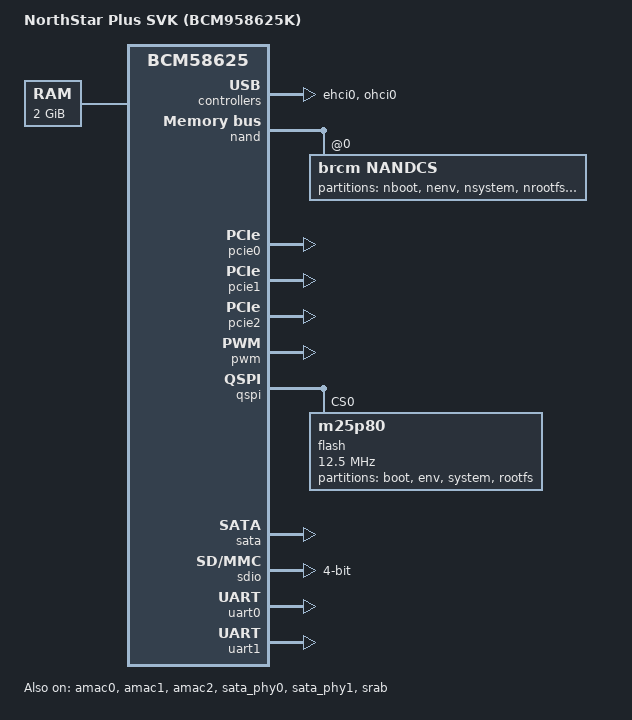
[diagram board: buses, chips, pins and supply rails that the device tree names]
/*
 *  BSD LICENSE
 *
 *  Copyright(c) 2015 Broadcom Corporation.  All rights reserved.
 *
 *  Redistribution and use in source and binary forms, with or without
 *  modification, are permitted provided that the following conditions
 *  are met:
 *
 *    * Redistributions of source code must retain the above copyright
 *      notice, this list of conditions and the following disclaimer.
 *    * Redistributions in binary form must reproduce the above copyright
 *      notice, this list of conditions and the following disclaimer in
 *      the documentation and/or other materials provided with the
 *      distribution.
 *    * Neither the name of Broadcom Corporation nor the names of its
 *      contributors may be used to endorse or promote products derived
 *      from this software without specific prior written permission.
 *
 *  THIS SOFTWARE IS PROVIDED BY THE COPYRIGHT HOLDERS AND CONTRIBUTORS
 *  "AS IS" AND ANY EXPRESS OR IMPLIED WARRANTIES, INCLUDING, BUT NOT
 *  LIMITED TO, THE IMPLIED WARRANTIES OF MERCHANTABILITY AND FITNESS FOR
 *  A PARTICULAR PURPOSE ARE DISCLAIMED. IN NO EVENT SHALL THE COPYRIGHT
 *  OWNER OR CONTRIBUTORS BE LIABLE FOR ANY DIRECT, INDIRECT, INCIDENTAL,
 *  SPECIAL, EXEMPLARY, OR CONSEQUENTIAL DAMAGES (INCLUDING, BUT NOT
 *  LIMITED TO, PROCUREMENT OF SUBSTITUTE GOODS OR SERVICES; LOSS OF USE,
 *  DATA, OR PROFITS; OR BUSINESS INTERRUPTION) HOWEVER CAUSED AND ON ANY
 *  THEORY OF LIABILITY, WHETHER IN CONTRACT, STRICT LIABILITY, OR TORT
 *  (INCLUDING NEGLIGENCE OR OTHERWISE) ARISING IN ANY WAY OUT OF THE USE
 *  OF THIS SOFTWARE, EVEN IF ADVISED OF THE POSSIBILITY OF SUCH DAMAGE.
 */

/dts-v1/;

#include "bcm-nsp.dtsi"

/ {
	model = "NorthStar Plus SVK (BCM958625K)";
	compatible = "brcm,bcm58625", "brcm,nsp";

	aliases {
		serial0 = &uart0;
		serial1 = &uart1;
	};

	chosen {
		stdout-path = "serial0:115200n8";
	};

	memory {
		device_type = "memory";
		reg = <0x60000000 0x80000000>;
	};
};

&amac0 {
	status = "okay";
};

&amac1 {
	status = "okay";
};

&amac2 {
	status = "okay";
};

&ehci0 {
	status = "okay";
};

&nand {
	nandcs@0 {
		compatible = "brcm,nandcs";
		reg = <0>;
		nand-on-flash-bbt;

		#address-cells = <1>;
		#size-cells = <1>;

		nand-ecc-strength = <24>;
		nand-ecc-step-size = <1024>;

		brcm,nand-oob-sector-size = <27>;

		partition@0 {
			label = "nboot";
			reg = <0x00000000 0x00200000>;
			read-only;
		};
		partition@200000 {
			label = "nenv";
			reg = <0x00200000 0x00400000>;
		};
		partition@600000 {
			label = "nsystem";
			reg = <0x00600000 0x00a00000>;
		};
		partition@1000000 {
			label = "nrootfs";
			reg = <0x01000000 0x03000000>;
		};
		partition@4000000 {
			label = "ncustfs";
			reg = <0x04000000 0x3c000000>;
		};
	};
};

&ohci0 {
	status = "okay";
};

&pcie0 {
	status = "okay";
};

&pcie1 {
	status = "okay";
};

&pcie2 {
	status = "okay";
};

&pinctrl {
	pinctrl-names = "default";
	pinctrl-0 = <&nand_sel>, <&gpiobs>, <&pwmc>;

	nand_sel: nand_sel {
		function = "nand";
		groups = "nand_grp";
	};

	gpiobs: gpiobs {
		function = "gpio_b";
		groups = "gpio_b_0_grp", "gpio_b_1_grp", "gpio_b_2_grp",
			 "gpio_b_3_grp";
	};

	pwmc: pwmc {
		function = "pwm";
		groups = "pwm0_grp", "pwm1_grp", "pwm2_grp", "pwm3_grp";
	};

	emmc_sel: emmc_sel {
		function = "emmc";
		groups = "emmc_grp";
	};
};

&pwm {
	status = "okay";
};

&qspi {
	bspi-sel = <0>;
	flash: m25p80@0 {
		#address-cells = <1>;
		#size-cells = <1>;
		compatible = "m25p80";
		reg = <0x0>;
		spi-max-frequency = <12500000>;
		m25p,fast-read;
		spi-cpol;
		spi-cpha;

		partition@0 {
			label = "boot";
			reg = <0x00000000 0x000a0000>;
		};

		partition@a0000 {
			label = "env";
			reg = <0x000a0000 0x00060000>;
		};

		partition@100000 {
			label = "system";
			reg = <0x00100000 0x00600000>;
		};

		partition@700000 {
			label = "rootfs";
			reg = <0x00700000 0x01900000>;
		};
	};
};

&sata_phy0 {
	status = "okay";
};

&sata_phy1 {
	status = "okay";
};

&sata {
	status = "okay";
};

/*
 * By default the sd slot is functional. For emmc to work add "<&emmc_sel>"
 * and delete "<&nand_sel>" in "pinctrl-0" property of pinctrl node. Remove the
 * bus-width property here and disable the nand node with status = "disabled";.
 *
 * Ex: pinctrl-0 = <&emmc_sel>, <&gpiobs>, <&pwmc>;
 */
&sdio {
	bus-width = <4>;
	no-1-8-v;
	status = "ok";
};

&srab {
	compatible = "brcm,bcm58625-srab", "brcm,nsp-srab";
	status = "okay";

	ports {
		#address-cells = <1>;
		#size-cells = <0>;

		port@0 {
			label = "port0";
			reg = <0>;
		};

		port@1 {
			label = "port1";
			reg = <1>;
		};

		port@2 {
			label = "port2";
			reg = <2>;
		};

		port@3 {
			label = "port3";
			reg = <3>;
		};

		port@4 {
			label = "port4";
			reg = <4>;
		};

		port@5 {
			ethernet = <&amac0>;
			label = "cpu";
			reg = <5>;
			fixed-link {
				speed = <1000>;
				full-duplex;
			};
		};
	};
};

&uart0 {
	status = "okay";
};

&uart1 {
	status = "okay";
};
